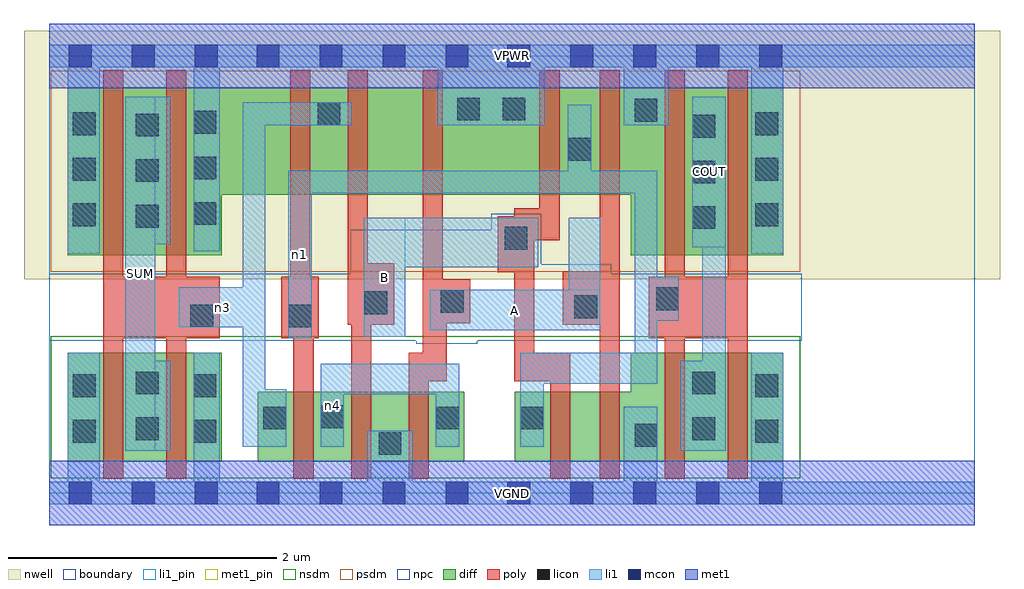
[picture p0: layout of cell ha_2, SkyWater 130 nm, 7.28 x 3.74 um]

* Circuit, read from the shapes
.subckt ha_2 A B COUT SUM VGND VPWR n1 n3 n4
XM1 SUM n3 VGND VSUBS sky130_fd_pr__nfet_01v8 w=0.81 l=0.15 m=2
XM2 n4 n1 n3 VSUBS sky130_fd_pr__nfet_01v8 w=0.52 l=0.15
XM3 VGND B n4 VSUBS sky130_fd_pr__nfet_01v8 w=0.52 l=0.15
XM4 n4 A VGND VSUBS sky130_fd_pr__nfet_01v8 w=0.52 l=0.15
XM5 n2 B n1 VSUBS sky130_fd_pr__nfet_01v8 w=0.52 l=0.15
XM6 VGND A n2 VSUBS sky130_fd_pr__nfet_01v8 w=0.52 l=0.15
XM7 COUT n1 VGND VSUBS sky130_fd_pr__nfet_01v8 w=0.81 l=0.15 m=2
XM8 SUM n3 VPWR n5 sky130_fd_pr__pfet_01v8 w=1.25 l=0.15 m=2
XM9 n3 n1 VPWR n5 sky130_fd_pr__pfet_01v8 w=0.8 l=0.15
XM10 n6 B n3 n5 sky130_fd_pr__pfet_01v8 w=0.8 l=0.15
XM11 VPWR A n6 n5 sky130_fd_pr__pfet_01v8 w=0.8 l=0.15
XM12 n1 B VPWR n5 sky130_fd_pr__pfet_01v8 w=0.8 l=0.15
XM13 VPWR A n1 n5 sky130_fd_pr__pfet_01v8 w=0.8 l=0.15
XM14 COUT n1 VPWR n5 sky130_fd_pr__pfet_01v8 w=1.25 l=0.15 m=2
.ends

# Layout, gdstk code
import gdstk
lib = gdstk.Library(unit=1e-6, precision=1e-09)
def R(c, l, rs):  # rectangles x0, y0, x1, y1
    for r in rs: c.add(gdstk.rectangle(r[:2], r[2:], *l))
def A(c, l, x, y, w, h, nx, ny, dx, dy):  # array of equal rectangles
    R(c, l, [(x+i*dx, y+j*dy, x+i*dx+w, y+j*dy+h) for i in range(nx) for j in range(ny)])
nwell = (64, 20)
diff = (65, 20)
poly = (66, 20)
licon = (66, 44)
li1_pin = (67, 16)
li1 = (67, 20)
mcon = (67, 44)
met1_pin = (68, 16)
met1 = (68, 20)
nsdm = (93, 44)
psdm = (94, 20)
npc = (95, 20)
boundary = (235, 4)

ha_2 = lib.new_cell('ha_2')
R(ha_2, nwell, [(-0.19,1.595,7.09,3.45), (0,1.595,6.9,3.45)])
R(ha_2, diff, [(0.135,0.235,1.285,1.045), (1.555,0.235,3.095,0.755), (3.47,0.235,5.475,0.755), (4.335,0.235,5.475,1.045), (0.135,1.775,1.285,3.025), (4.335,1.775,5.475,3.025), (0.135,2.225,5.475,3.025)])
R(ha_2, poly, [(0.4,0.105,0.55,3.155), (0.87,0.105,1.02,3.155), (1.82,0.105,1.97,1.615), (2.25,0.105,2.4,1.715), (2.68,0.105,2.83,1.045), (3.735,0.105,3.885,1.045), (4.105,0.105,4.255,3.155), (4.59,0.105,4.74,3.155), (5.06,0.105,5.21,3.155), (2.785,0.835,2.935,3.155), (2.785,0.835,2.965,1.595), (3.465,0.835,3.615,2.125), (3.465,0.835,3.885,1.045), (0.4,1.155,1.27,1.615), (1.73,1.155,2.01,1.615), (1.795,1.155,1.945,3.155), (4.47,1.155,5.21,1.615), (2.225,1.255,2.375,3.155), (2.225,1.255,2.57,1.715), (3.83,1.255,4.255,1.655), (2.785,1.265,3.14,1.595), (3.345,1.645,3.615,2.065), (3.465,1.885,3.805,2.125), (3.655,1.885,3.805,3.155)])
A(ha_2, licon, 4.795, 1.97, 0.17, 0.17, 1, 3, 0, 0.34)
A(ha_2, licon, 0.645, 1.98, 0.17, 0.17, 1, 3, 0, 0.34)
A(ha_2, licon, 0.175, 1.99, 0.17, 0.17, 1, 3, 0, 0.34)
A(ha_2, licon, 5.265, 1.99, 0.17, 0.17, 1, 3, 0, 0.34)
A(ha_2, licon, 1.075, 2, 0.17, 0.17, 1, 3, 0, 0.34)
R(ha_2, licon, [(2.455,0.285,2.625,0.455), (4.365,0.345,4.535,0.515), (0.175,0.375,0.345,0.545), (1.075,0.375,1.245,0.545), (5.265,0.375,5.435,0.545), (0.645,0.395,0.815,0.565), (4.795,0.395,4.965,0.565), (1.595,0.475,1.765,0.645), (2.885,0.475,3.055,0.645), (3.51,0.475,3.68,0.645), (2.025,0.485,2.195,0.655), (0.175,0.715,0.345,0.885), (1.075,0.715,1.245,0.885), (5.265,0.715,5.435,0.885), (0.645,0.735,0.815,0.905), (4.795,0.735,4.965,0.905), (1.05,1.235,1.22,1.405), (1.785,1.235,1.955,1.405), (3.915,1.305,4.085,1.475), (2.35,1.335,2.52,1.505), (2.92,1.345,3.09,1.515), (4.525,1.365,4.695,1.535), (3.395,1.815,3.565,1.985), (3.87,2.48,4.04,2.65), (2,2.745,2.17,2.915), (4.365,2.77,4.535,2.94), (3.04,2.78,3.21,2.95), (3.38,2.78,3.55,2.95)])
R(ha_2, li1_pin, [(0.565,0.315,0.79,2.955), (2.345,1.165,2.655,2.055), (2.835,1.215,4.11,1.515), (4.795,1.835,5.045,2.955)])
R(ha_2, li1, [(0,-0.085,6.9,0.085), (0.135,-0.085,0.375,1.045), (1.075,-0.085,1.27,1.045), (2.37,-0.085,2.71,0.465), (4.285,-0.085,4.535,0.645), (5.235,-0.085,5.475,1.045), (0.565,0.315,0.79,2.955), (0.565,0.315,0.9,0.985), (4.71,0.315,5.045,0.985), (4.87,0.315,5.045,2.955), (1.44,0.345,1.61,2.915), (1.44,0.345,1.765,0.775), (2.025,0.345,2.195,0.965), (2.88,0.345,3.055,0.965), (3.51,0.345,3.685,1.045), (2.025,0.735,3.055,0.965), (3.51,0.815,4.535,1.045), (4.365,0.815,4.535,2.405), (1.78,1.155,1.955,2.405), (2.345,1.165,2.655,2.055), (2.835,1.215,4.11,1.515), (3.875,1.215,4.11,2.055), (0.965,1.235,1.61,1.535), (4.365,1.285,4.695,1.615), (2.345,1.685,3.645,2.055), (0.135,1.785,0.375,3.345), (5.235,1.785,5.475,3.345), (1.075,1.805,1.27,3.345), (4.795,1.835,5.045,2.955), (0.565,1.855,0.9,2.955), (1.78,2.235,4.535,2.405), (3.865,2.235,4.04,2.895), (1.44,2.745,2.255,2.915), (2.895,2.745,3.695,3.345), (4.285,2.745,4.62,3.345), (0,3.175,6.9,3.345)])
A(ha_2, mcon, 0.145, -0.085, 0.17, 0.17, 3, 2, 0.47, 3.26)
A(ha_2, mcon, 1.545, -0.085, 0.17, 0.17, 4, 2, 0.47, 3.26)
A(ha_2, mcon, 3.415, -0.085, 0.17, 0.17, 5, 2, 0.47, 3.26)
R(ha_2, met1_pin, [(0,-0.24,6.9,0.24), (0,3.02,6.9,3.5)])
R(ha_2, met1, [(0,-0.24,6.9,0.24), (0,3.02,6.9,3.5)])
R(ha_2, nsdm, [(0.01,0.11,5.6,1.17)])
R(ha_2, psdm, [(0.01,1.65,5.6,3.15)])
R(ha_2, npc, [(2.735,1.115,3.19,1.965), (0,1.135,5.61,1.635), (3.295,1.135,3.67,2.085), (3.295,1.135,4.19,1.705), (2.245,1.635,3.67,1.965)])
R(ha_2, boundary, [(0,0,6.9,3.26)])
ha_2.add(gdstk.Label('A', (3.472,1.365), layer=67, texttype=5))
ha_2.add(gdstk.Label('B', (2.5,1.61), layer=67, texttype=5))
ha_2.add(gdstk.Label('COUT', (4.92,2.395), layer=67, texttype=5))
ha_2.add(gdstk.Label('SUM', (0.677,1.635), layer=67, texttype=5))
ha_2.add(gdstk.Label('n4', (2.11,0.655), layer=67, texttype=5))
ha_2.add(gdstk.Label('n1', (1.867,1.78), layer=67, texttype=5))
ha_2.add(gdstk.Label('n3', (1.287,1.385), layer=67, texttype=5))
ha_2.add(gdstk.Label('VPWR', (3.45,3.26), layer=68, texttype=5))
ha_2.add(gdstk.Label('VGND', (3.45,0), layer=68, texttype=5))
ha_2.add(gdstk.Label('A', (3.472,1.365), layer=67, texttype=16))
ha_2.add(gdstk.Label('B', (2.5,1.61), layer=67, texttype=16))
ha_2.add(gdstk.Label('COUT', (4.92,2.395), layer=67, texttype=16))
ha_2.add(gdstk.Label('SUM', (0.677,1.635), layer=67, texttype=16))
ha_2.add(gdstk.Label('VPWR', (3.45,3.26), layer=68, texttype=16))
ha_2.add(gdstk.Label('VGND', (3.45,0), layer=68, texttype=16))

lib.write_gds('ha_2.gds')
